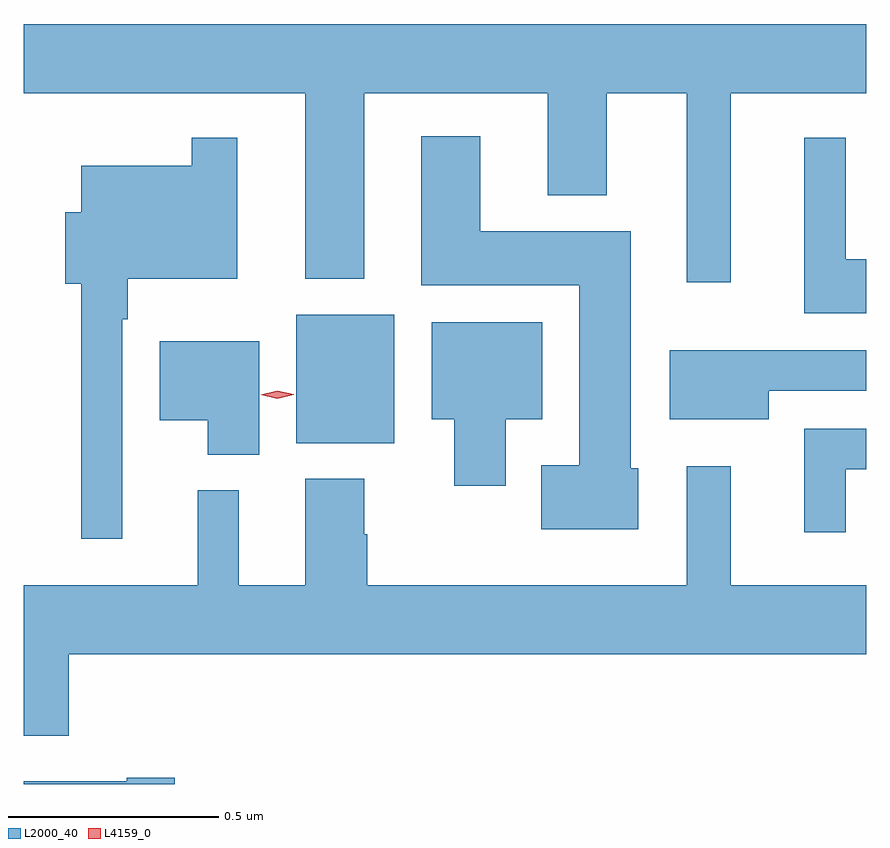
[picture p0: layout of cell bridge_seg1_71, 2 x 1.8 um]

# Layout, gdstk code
import gdstk
lib = gdstk.Library(unit=1e-6, precision=1e-09)
def R(c, l, rs):  # rectangles x0, y0, x1, y1
    for r in rs: c.add(gdstk.rectangle(r[:2], r[2:], *l))
def P(c, l, *ps):  # polygons
    for p in ps: c.add(gdstk.Polygon(p, *l))
L2000_40 = (2000, 40)
L4159_0 = (4159, 0)

bridge_seg1_71 = lib.new_cell('bridge_seg1_71')
R(bridge_seg1_71, L2000_40, [(595.148,513.605,595.381,513.91)])
P(bridge_seg1_71, L2000_40, [(596.179,514.436),(596.501,514.436),(596.501,514.6),(594.501,514.6),(594.501,514.436),(595.169,514.436),(595.169,513.995),(595.309,513.995),(595.309,514.436),(595.745,514.436),(595.745,514.193),(595.885,514.193),(595.885,514.436),(596.075,514.436),(596.075,513.987),(596.179,513.987)],
  [(595.96,513.546),(595.942,513.546),(595.942,514.108),(595.585,514.108),(595.585,514.333),(595.445,514.333),(595.445,513.98),(595.82,513.98),(595.82,513.553),(595.73,513.553),(595.73,513.401),(595.96,513.401)],
  [(594.735,513.899),(594.748,513.899),(594.748,513.995),(595.008,513.995),(595.008,514.33),(594.9,514.33),(594.9,514.264),(594.638,514.264),(594.638,514.153),(594.599,514.153),(594.599,513.983),(594.638,513.983),(594.638,513.378),(594.735,513.378)],
  [(596.501,514.042),(596.452,514.042),(596.452,514.33),(596.354,514.33),(596.354,513.914),(596.501,513.914)],
  [(595.645,513.662),(595.732,513.662),(595.732,513.892),(595.469,513.892),(595.469,513.662),(595.523,513.662),(595.523,513.504),(595.645,513.504)],
  [(595.06,513.847),(594.824,513.847),(594.824,513.659),(594.938,513.659),(594.938,513.578),(595.06,513.578)],
  [(596.269,513.729),(596.501,513.729),(596.501,513.825),(596.265,513.825),(596.265,513.826),(596.034,513.826),(596.034,513.662),(596.269,513.662)],
  [(596.452,513.543),(596.501,513.543),(596.501,513.639),(596.354,513.639),(596.354,513.393),(596.452,513.393)],
  [(594.608,513.104),(596.501,513.104),(596.501,513.268),(596.179,513.268),(596.179,513.55),(596.075,513.55),(596.075,513.268),(595.317,513.268),(595.317,513.389),(595.309,513.389),(595.309,513.52),(595.169,513.52),(595.169,513.268),(595.012,513.268),(595.012,513.493),(594.914,513.493),(594.914,513.268),(594.501,513.268),(594.501,512.91),(594.608,512.91)],
  [(594.859,512.811),(594.746,512.811),(594.746,512.803),(594.501,512.803),(594.501,512.796),(594.859,512.796)])
P(bridge_seg1_71, L4159_0, [(595.103,513.71),(595.064,513.72),(595.064,513.72),(595.064,513.72),(595.103,513.73),(595.142,513.721),(595.142,513.72),(595.142,513.72)])

lib.write_gds('bridge_seg1_71.gds')
